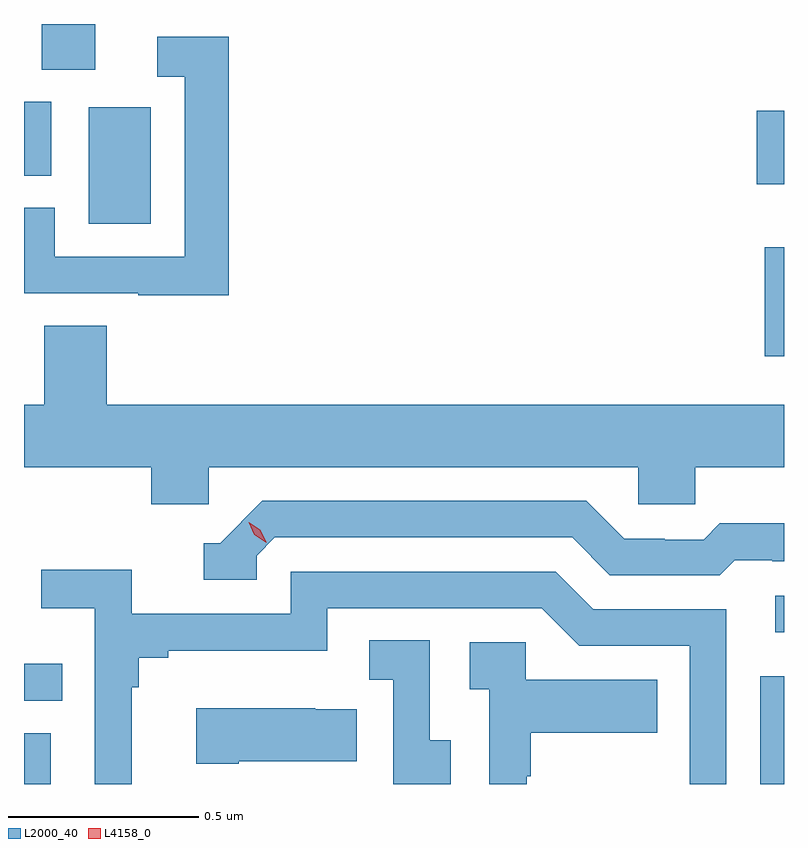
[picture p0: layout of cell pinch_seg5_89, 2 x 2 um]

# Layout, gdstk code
import gdstk
lib = gdstk.Library(unit=1e-6, precision=1e-09)
def R(c, l, rs):  # rectangles x0, y0, x1, y1
    for r in rs: c.add(gdstk.rectangle(r[:2], r[2:], *l))
def P(c, l, *ps):  # polygons
    for p in ps: c.add(gdstk.Polygon(p, *l))
L2000_40 = (2000, 40)
L4158_0 = (4158, 0)

pinch_seg5_89 = lib.new_cell('pinch_seg5_89')
R(pinch_seg5_89, L2000_40, [(1024.11,910.538,1024.18,910.671), (1026.048,910.538,1026.11,910.822), (1024.11,910.757,1024.211,910.855), (1026.087,910.938,1026.11,911.034), (1026.059,911.664,1026.11,911.95), (1024.28,912.012,1024.444,912.319), (1026.038,912.116,1026.11,912.31), (1024.11,912.139,1024.182,912.333), (1024.157,912.418,1024.297,912.538)])
P(pinch_seg5_89, L2000_40, [(1024.649,912.505),(1024.461,912.505),(1024.461,912.399),(1024.533,912.399),(1024.533,911.925),(1024.191,911.925),(1024.191,912.054),(1024.11,912.054),(1024.11,911.829),(1024.411,911.829),(1024.411,911.824),(1024.649,911.824)],
  [(1024.596,911.372),(1025.727,911.372),(1025.727,911.274),(1025.877,911.274),(1025.877,911.372),(1026.11,911.372),(1026.11,911.536),(1024.328,911.536),(1024.328,911.744),(1024.163,911.744),(1024.163,911.536),(1024.11,911.536),(1024.11,911.372),(1024.445,911.372),(1024.445,911.274),(1024.596,911.274)],
  [(1024.722,911.139),(1024.77,911.187),(1025.553,911.187),(1025.652,911.088),(1025.941,911.088),(1025.98,911.127),(1026.079,911.127),(1026.079,911.124),(1026.11,911.124),(1026.11,911.224),(1025.941,911.224),(1025.899,911.181),(1025.796,911.181),(1025.796,911.184),(1025.689,911.184),(1025.59,911.283),(1024.737,911.283),(1024.626,911.172),(1024.583,911.172),(1024.583,911.076),(1024.722,911.076)],
  [(1024.393,910.793),(1024.412,910.793),(1024.412,910.87),(1024.489,910.87),(1024.489,910.889),(1024.908,910.889),(1024.908,911.001),(1025.472,911.001),(1025.571,910.902),(1025.862,910.902),(1025.862,910.538),(1025.958,910.538),(1025.958,910.998),(1025.608,910.998),(1025.509,911.097),(1024.812,911.097),(1024.812,910.986),(1024.394,910.986),(1024.394,911.102),(1024.155,911.102),(1024.155,911),(1024.296,911),(1024.296,910.538),(1024.393,910.538)],
  [(1025.233,910.653),(1025.178,910.653),(1025.178,910.916),(1025.019,910.916),(1025.019,910.813),(1025.082,910.813),(1025.082,910.538),(1025.233,910.538)],
  [(1025.433,910.559),(1025.443,910.559),(1025.443,910.673),(1025.777,910.673),(1025.777,910.813),(1025.43,910.813),(1025.43,910.911),(1025.283,910.911),(1025.283,910.787),(1025.334,910.787),(1025.334,910.538),(1025.433,910.538)],
  [(1024.675,910.598),(1024.985,910.598),(1024.985,910.735),(1024.877,910.735),(1024.877,910.738),(1024.563,910.738),(1024.563,910.591),(1024.675,910.591)])
P(pinch_seg5_89, L4158_0, [(1024.747,911.173),(1024.716,911.194),(1024.701,911.227),(1024.701,911.227),(1024.701,911.227),(1024.732,911.207),(1024.747,911.174),(1024.747,911.173)])

lib.write_gds('pinch_seg5_89.gds')
